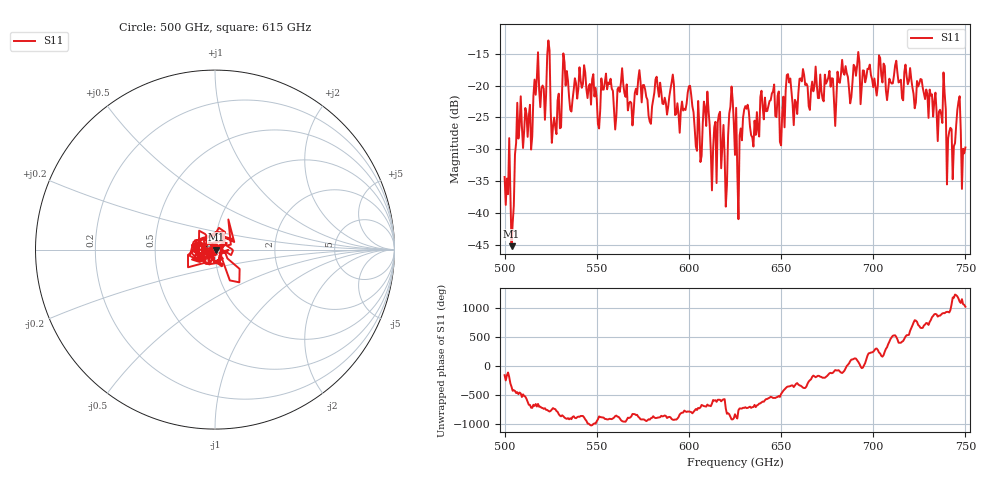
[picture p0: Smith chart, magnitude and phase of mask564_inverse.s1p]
!Created with skrf (http://scikit-rf.org).
# GHz S MA R 50.0
!freq magS11 angS11
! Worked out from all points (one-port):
!   401 points, 500 GHz to 750 GHz, reference 50 ohm
!   lowest |S11| = -45.3 dB at 503.8 GHz (marker M1), VSWR 1.01, Z = 50.5 + j0.0212 ohm
!   |S11| at or under -10 dB: start of sweep to end of sweep
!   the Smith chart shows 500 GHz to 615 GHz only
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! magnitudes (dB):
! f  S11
! 500 GHz  -34.4
! 503.8 GHz  -45.3
! 507.5 GHz  -28.3
! 513.8 GHz  -23.0
! 516.9 GHz  -21.4
! 523.8 GHz  -12.9
! 526.9 GHz  -25.0
! 531.2 GHz  -20.3
! 562.5 GHz  -21.0
! 578.8 GHz  -25.6
! 590.6 GHz  -19.5
! 593.8 GHz  -22.8
! 600.6 GHz  -20.0
! 605.6 GHz  -26.2
! 609.4 GHz  -26.3
! 619.4 GHz  -31.1
! 622.5 GHz  -23.3
! 625 GHz  -30.9
! 627.5 GHz  -27.8
! 630.6 GHz  -23.2
! 635 GHz  -29.6
! 656.2 GHz  -22.9
! 687.5 GHz  -22.8
! 718.8 GHz  -19.8
! 738.1 GHz  -17.9
! 743.1 GHz  -34.7
! 746.2 GHz  -22.5
! 750 GHz  -29.7
